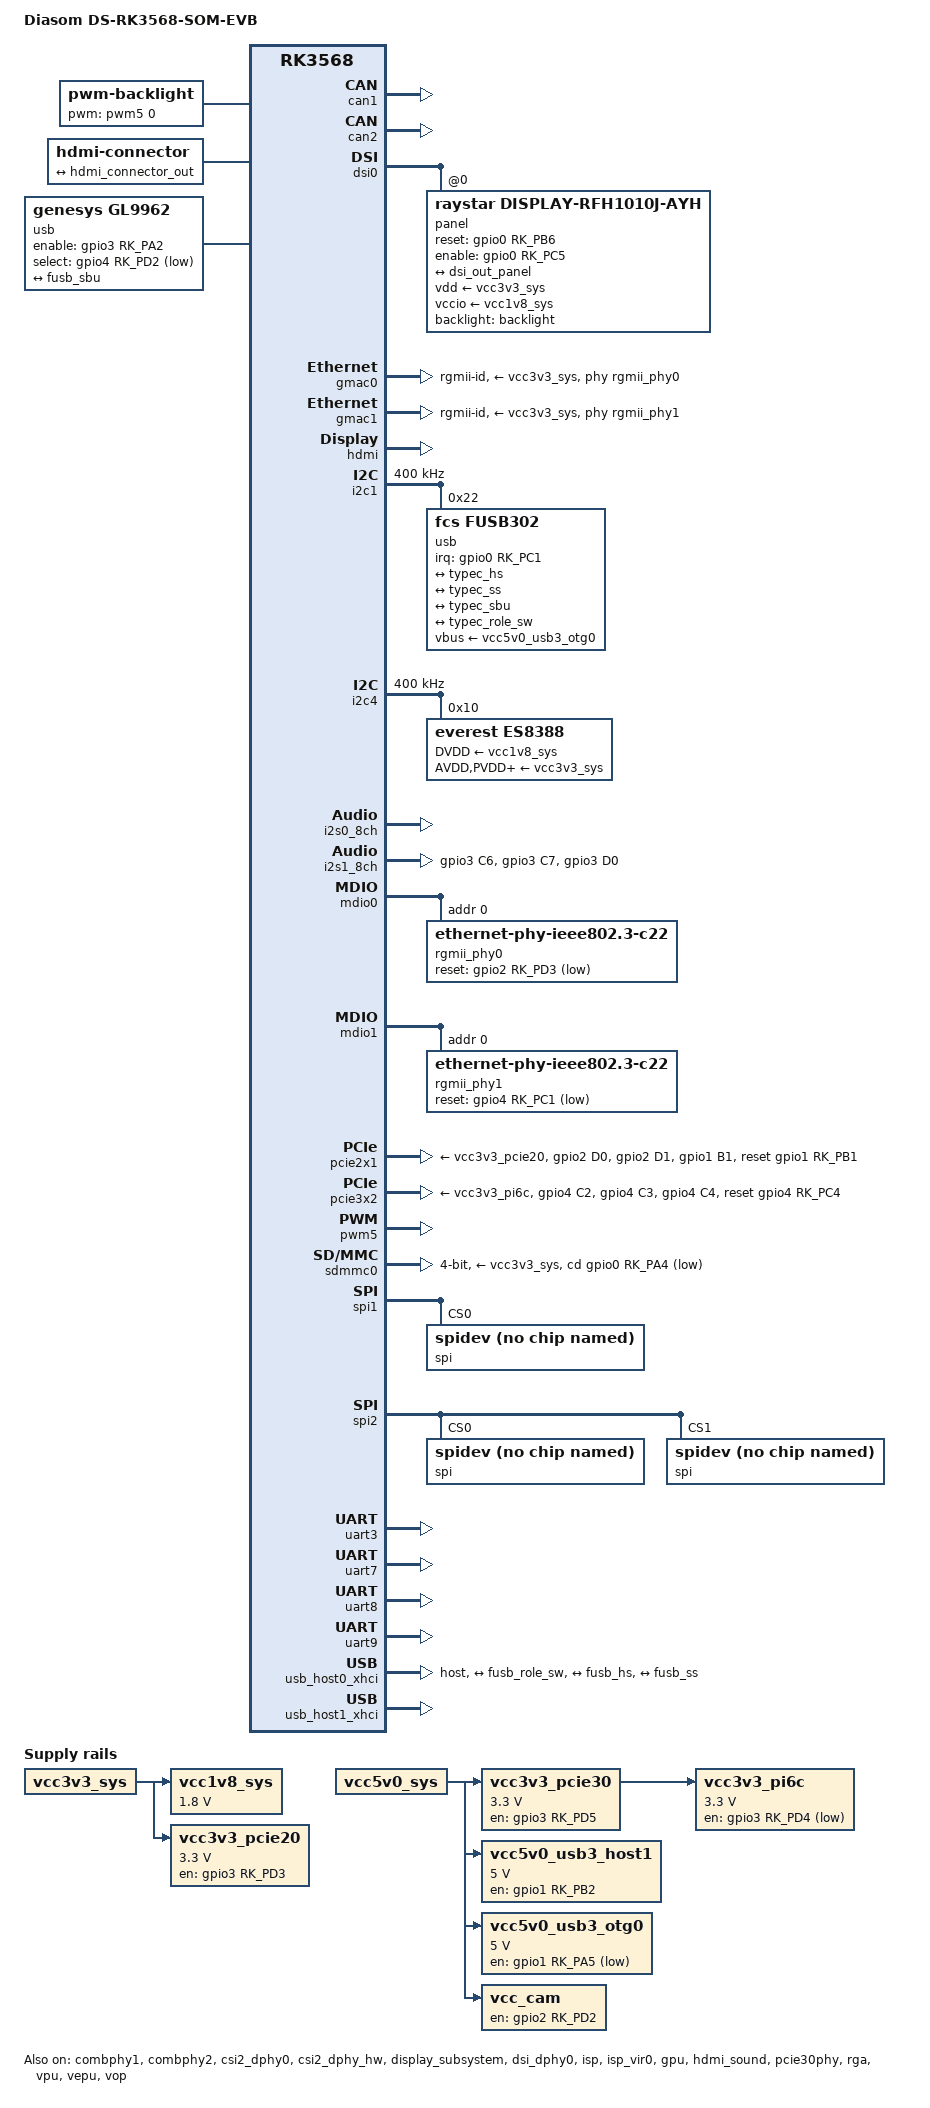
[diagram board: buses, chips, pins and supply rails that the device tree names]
/* SPDX-License-Identifier: GPL-2.0+ */
/* SPDX-FileCopyrightText: Alexander Shiyan <shc_work@mail.ru> */

/dts-v1/;

#include <dt-bindings/soc/rockchip,vop2.h>

#include "rk3568-diasom-som.dtsi"

#define USBOTG_HOST

/ {
	model = "Diasom DS-RK3568-SOM-EVB";
	compatible = "diasom,ds-rk3568-som-evb", "diasom,ds-rk3568-som", "rockchip,rk3568";

	aliases {
		camera0 = &xc7160;
		camera1 = &imx335;
		can0 = &can1;
		can1 = &can2;
		ethernet0 = &gmac0;
		ethernet1 = &gmac1;
		mmc0 = &sdmmc0;
		sound0 = &sound0;
	};

	chosen {
		environment-sd {
			compatible = "barebox,environment";
			device-path = &sdmmc0, "partname:env";
			status = "disabled";
		};
	};

	backlight: backlight {
		compatible = "pwm-backlight";
		pwms = <&pwm5 0 25000 0>;
		brightness-levels = <0 255>;
		num-interpolated-steps = <256>;
		default-brightness-level = <255>;
	};

	hdmi-connector {
		compatible = "hdmi-connector";
		label = "HDMI";
		type = "a";

		port {
			hdmi_connector_in: endpoint {
				remote-endpoint = <&hdmi_connector_out>;
			};
		};
	};

	lvds: lvds {
		compatible = "rockchip,rk3568-lvds";
		phys = <&dsi_dphy0>;
		phy-names = "dphy";
		power-domains = <&power RK3568_PD_VO>;
		rockchip,grf = <&grf>;
		rockchip,output = "lvds";
		status = "disabled";

		ports {
			#address-cells = <1>;
			#size-cells = <0>;

			port@0 {
				reg = <0>;

				lvds_in_vp2: endpoint {
					remote-endpoint = <&vp2_out_lvds>;
				};
			};

			port@1 {
				reg = <1>;

				lvds_out_panel: endpoint {
					remote-endpoint = <&lvds_in_panel>;
				};
			};
		};
	};

	lvds_panel: panel {
		pinctrl-names = "default";
		pinctrl-0 = <&lvds_pins>;
		compatible = "panel-lvds";
		backlight = <&backlight>;
		data-mapping = "jeida-24";
		enable-gpios = <&gpio0 RK_PC5 GPIO_ACTIVE_HIGH>;
		width-mm = <210>;
		height-mm = <158>;
		status = "disabled";

		panel-timing {
			/* Raystar RFM1040G-AWW-LNN 1024x768@60 */
			clock-frequency = <65000000>;
			hactive = <1024>;
			vactive = <768>;
			hsync-len = <4>;
			hfront-porch = <100>;
			hback-porch = <216>;
			vfront-porch = <30>;
			vback-porch = <7>;
			vsync-len = <1>;
			hsync-active = <0>;
			vsync-active = <0>;
			de-active = <0>;
			pixelclk-active = <0>;
		};

		port {
			lvds_in_panel: endpoint {
				remote-endpoint = <&lvds_out_panel>;
			};
		};
	};

	sound0: es8388-sound {
		compatible = "simple-audio-card";
		simple-audio-card,name = "ES8388";
		simple-audio-card,format = "i2s";
		simple-audio-card,bitclock-master = <&es8388_master>;
		simple-audio-card,frame-master = <&es8388_master>;

		es8388_master: simple-audio-card,cpu {
			sound-dai = <&i2s1_8ch>;
		};

		simple-audio-card,codec {
			sound-dai = <&es8388>;
		};
	};

	usb {
		pinctrl-names = "default";
		pinctrl-0 = <&usbmux_pins>;
		compatible = "genesys,gl9962", "gpio-sbu-mux";
		enable-gpios = <&gpio3 RK_PA2 GPIO_ACTIVE_HIGH>;
		select-gpios = <&gpio4 RK_PD2 GPIO_ACTIVE_LOW>;
		orientation-switch;

		port {
			typec_sbu: endpoint {
				remote-endpoint = <&fusb_sbu>;
			};
		};
	};

	vcc1v8_sys: vcc1v8-sys-regulator {
		compatible = "regulator-fixed";
		regulator-name = "1v8_sys";
		regulator-min-microvolt = <1800000>;
		regulator-max-microvolt = <1800000>;
		vin-supply = <&vcc3v3_sys>;
	};

	vcc3v3_pcie20: vcc3v3-pcie20-pwr-regulator {
		pinctrl-0 = <&pcie20_pwr_pins>;
		pinctrl-names = "default";
		compatible = "regulator-fixed";
		enable-active-high;
		gpio = <&gpio3 RK_PD3 GPIO_ACTIVE_HIGH>;
		regulator-name = "3v3_pcie20";
		regulator-min-microvolt = <3300000>;
		regulator-max-microvolt = <3300000>;
		startup-delay-us = <20000>;
		vin-supply = <&vcc3v3_sys>;
	};

	vcc3v3_pcie30: vcc3v3-pcie30-regulator {
		pinctrl-0 = <&pcie30_pwr_pins>;
		pinctrl-names = "default";
		compatible = "regulator-fixed";
		enable-active-high;
		gpio = <&gpio3 RK_PD5 GPIO_ACTIVE_HIGH>;
		regulator-name = "3v3_pcie30";
		regulator-min-microvolt = <3300000>;
		regulator-max-microvolt = <3300000>;
		startup-delay-us = <20000>;
		vin-supply = <&vcc5v0_sys>;
	};

	vcc3v3_pi6c: vcc3v3-pi6c-regulator {
		pinctrl-0 = <&pcie30_oe_pins>;
		pinctrl-names = "default";
		compatible = "regulator-fixed";
		gpio = <&gpio3 RK_PD4 GPIO_ACTIVE_LOW>;
		regulator-name = "3v3_pi6c";
		regulator-min-microvolt = <3300000>;
		regulator-max-microvolt = <3300000>;
		startup-delay-us = <1000>;
		vin-supply = <&vcc3v3_pcie30>;
	};

	vcc5v0_usb3_host1: vcc5v0-usb3-host1-regulator {
		pinctrl-names = "default";
		pinctrl-0 = <&usb3_host1_en_pins>;
		compatible = "regulator-fixed";
		enable-active-high;
		gpio = <&gpio1 RK_PB2 GPIO_ACTIVE_HIGH>;
		regulator-name = "vcc5v0_usb3_host1";
		regulator-min-microvolt = <5000000>;
		regulator-max-microvolt = <5000000>;
		startup-delay-us = <20000>;
		vin-supply = <&vcc5v0_sys>;
	};

	vcc5v0_usb3_otg0: vcc5v0-usb3-otg0-regulator {
		pinctrl-names = "default";
		pinctrl-0 = <&usb3_otg0_en_pins>;
		compatible = "regulator-fixed";
		gpio = <&gpio1 RK_PA5 GPIO_ACTIVE_LOW>;
		regulator-name = "vcc5v0_usb3_otg0";
		regulator-min-microvolt = <5000000>;
		regulator-max-microvolt = <5000000>;
		startup-delay-us = <20000>;
		vin-supply = <&vcc5v0_sys>;
	};

	vcc_cam: vcc-cam-regulator {
		pinctrl-names = "default";
		pinctrl-0 = <&csi0_pwr>;
		compatible = "regulator-fixed";
		enable-active-high;
		gpio = <&gpio2 RK_PD2 GPIO_ACTIVE_HIGH>;
		regulator-name = "vcc_cam";
		startup-delay-us = <250000>;
		vin-supply = <&vcc5v0_sys>;
	};
};

&can1 {
	pinctrl-names = "default";
	pinctrl-0 = <&can1m0_pins>;
	status = "okay";
};

&can2 {
	pinctrl-names = "default";
	pinctrl-0 = <&can2m0_pins>;
	status = "okay";
};

&combphy1 {
	/* USB3.0 HOST1 */
	status = "okay";
};

&combphy2 {
	/* PCI-E 2.0 */
	phy-supply = <&vcc3v3_pcie20>;
	status = "okay";
};

&csi2_dphy0 {
	status = "okay";

	ports {
		#address-cells = <1>;
		#size-cells = <0>;

		port@0 {
			reg = <0>;
			#address-cells = <1>;
			#size-cells = <0>;

			xc7160_in: endpoint@0 {
				reg = <0>;
				remote-endpoint = <&xc7160_out>;
				data-lanes = <1 2 3 4>;
			};

			imx335_in: endpoint@1 {
				reg = <1>;
				remote-endpoint = <&imx335_out>;
				data-lanes = <1 2 3 4>;
			};
		};

		port@1 {
			reg = <1>;

			csi_out: endpoint {
				remote-endpoint = <&isp_in>;
				data-lanes = <1 2 3 4>;
			};
		};
	};
};

&csi2_dphy_hw {
	status = "okay";
};

&display_subsystem {
	status = "okay";
};

&dsi0 {
	#address-cells = <1>;
	#size-cells = <0>;
	status = "okay";

	panel@0 {
		pinctrl-names = "default";
		pinctrl-0 = <&dsi_pins>;
		compatible = "raystar,display-rfh1010j-ayh";
		reg = <0>;
		backlight = <&backlight>;
		reset-gpios = <&gpio0 RK_PB6 GPIO_ACTIVE_HIGH>;
		enable-gpios = <&gpio0 RK_PC5 GPIO_ACTIVE_HIGH>;
		vdd-supply = <&vcc3v3_sys>;
		vccio-supply = <&vcc1v8_sys>;

		port {
			dsi_in_panel: endpoint {
				remote-endpoint = <&dsi_out_panel>;
			};
		};
	};
};

&dsi_dphy0 {
	status = "okay";
};

&dsi0_in {
	dsi0_in_vp1: endpoint {
		remote-endpoint = <&vp1_out_dsi0>;
	};
};

&dsi0_out {
	dsi_out_panel: endpoint {
		remote-endpoint = <&dsi_in_panel>;
	};
};

&isp {
	status = "okay";
};

&isp_mmu {
	status = "okay";
};

&isp_vir0 {
	status = "okay";

	port {
		#address-cells = <1>;
		#size-cells = <0>;

		isp_in: endpoint@0 {
			reg = <0>;
			remote-endpoint = <&csi_out>;
		};
	};
};

&gmac0 {
	assigned-clocks = <&cru SCLK_GMAC0_RX_TX>, <&cru SCLK_GMAC0>;
	assigned-clock-parents = <&cru SCLK_GMAC0_RGMII_SPEED>;
	assigned-clock-rates = <0>, <125000000>;
	pinctrl-names = "default";
	pinctrl-0 = <&gmac0_miim &gmac0_tx_bus2 &gmac0_rx_bus2 &gmac0_rgmii_clk &gmac0_rgmii_bus>;
	clock_in_out = "output";
	phy-handle = <&rgmii_phy0>;
	phy-mode = "rgmii-id";
	phy-supply = <&vcc3v3_sys>;
	status = "okay";
};

&gmac1 {
	assigned-clocks = <&cru SCLK_GMAC1_RX_TX>, <&cru SCLK_GMAC1>;
	assigned-clock-parents = <&cru SCLK_GMAC1_RGMII_SPEED>;
	assigned-clock-rates = <0>, <125000000>;
	pinctrl-names = "default";
	pinctrl-0 = <&gmac1m1_miim &gmac1m1_tx_bus2 &gmac1m1_rx_bus2 &gmac1m1_rgmii_clk &gmac1m1_rgmii_bus>;
	clock_in_out = "output";
	phy-handle = <&rgmii_phy1>;
	phy-mode = "rgmii-id";
	phy-supply = <&vcc3v3_sys>;
	status = "okay";
};

&gpu {
	status = "okay";
};

&hdmi {
	status = "okay";
};

&hdmi_in {
	hdmi_in_vp0: endpoint {
		remote-endpoint = <&vp0_out_hdmi>;
	};
};

&hdmi_out {
	hdmi_connector_out: endpoint {
		remote-endpoint = <&hdmi_connector_in>;
	};
};

&hdmi_sound {
	status = "okay";
};

&i2c1 {
	/* FUSB302 is not detected at 1MHz, so lets reduce frequency to 400KHz */
	clock-frequency = <400000>;
	status = "okay";

	usb@22 {
		pinctrl-names = "default";
		pinctrl-0 = <&fusb302_pins>;
		compatible = "fcs,fusb302";
		reg = <0x22>;
		interrupt-parent = <&gpio0>;
		interrupts = <RK_PC1 IRQ_TYPE_LEVEL_LOW>;
		vbus-supply = <&vcc5v0_usb3_otg0>;

		connector {
			compatible = "usb-c-connector";
#ifdef USBOTG_HOST
			data-role = "host";
#else
			data-role = "dual";
#endif
			label = "USB-C";
			pd-disable;
			power-role = "source";
			typec-power-opmode = "default";

			ports {
				#address-cells = <1>;
				#size-cells = <0>;

				port@0 {
					/* HS */
					reg = <0>;

					fusb_hs: endpoint {
						remote-endpoint = <&typec_hs>;
					};
				};

				port@1 {
					/* SS */
					reg = <1>;

					fusb_ss: endpoint {
						remote-endpoint = <&typec_ss>;
					};
				};

				port@2 {
					/* Orientation Switch */
					reg = <2>;

					fusb_sbu: endpoint {
						remote-endpoint = <&typec_sbu>;
					};
				};
			};
		};

		port {
			/* Role Switch */

			fusb_role_sw: endpoint {
				remote-endpoint = <&typec_role_sw>;
			};
		};
	};
};

&i2c4 {
	clock-frequency = <400000>;
	status = "okay";

	es8388: codec@10 {
		compatible = "everest,es8388";
		assigned-clocks = <&cru I2S1_MCLKOUT_TX>;
		assigned-clock-rates = <12288000>;
		assigned-clock-parents = <&cru CLK_I2S1_8CH_TX>;
		reg = <0x10>;
		clocks = <&cru I2S1_MCLKOUT_TX>;
		DVDD-supply = <&vcc1v8_sys>;
		AVDD-supply = <&vcc3v3_sys>;
		PVDD-supply = <&vcc3v3_sys>;
		HPVDD-supply = <&vcc3v3_sys>;

		#sound-dai-cells = <0>;
	};

	imx335: camera@1a {
		compatible = "sony,imx335";
		reg = <0x1a>;
		clocks = <&xin24m>;
		power-domains = <&power RK3568_PD_VI>;
		avdd-supply = <&vcc_cam>;
		dvdd-supply = <&vcc_cam>;
		ovdd-supply = <&vcc_cam>;
		status = "disabled";

		port {
			imx335_out: endpoint {
				data-lanes = <1 2 3 4>;
				remote-endpoint = <&imx335_in>;
				link-frequencies = /bits/ 64 <594000000>;
			};
		};
	};

	xc7160: camera@1b {
		pinctrl-names = "default";
		pinctrl-0 = <&cif_clk &csi0_rst>;
		compatible = "firefly,xc7160";
		reg = <0x1b>;
		clocks = <&cru CLK_CIF_OUT>;
		clock-names = "xvclk";
		power-domains = <&power RK3568_PD_VI>;
		reset-gpios = <&gpio3 RK_PB6 GPIO_ACTIVE_HIGH>;
		avdd-supply = <&vcc5v0_sys>;
		dovdd-supply = <&vcc5v0_sys>;
		dvdd-supply = <&vcc5v0_sys>;
		status = "disabled";

		port {
			xc7160_out: endpoint {
				data-lanes = <1 2 3 4>;
				remote-endpoint = <&xc7160_in>;
			};
		};
	};
};

&i2s0_8ch {
	/* HDMI Sound */
	status = "okay";
};

&i2s1_8ch {
	/* I2S Sound */
	pinctrl-0 = <
		&i2s1_pins
		&i2s1m1_sdo0		/* I2S1_SDO0 */
		&i2s1m1_sdi0		/* I2S1_SDI0 */
	>;
	rockchip,trcm-sync-tx-only;
	status = "okay";
};

&mdio0 {
	rgmii_phy0: phy@0 {
		pinctrl-names = "default";
		pinctrl-0 = <&gmac0_rst_pins>;
		compatible = "ethernet-phy-ieee802.3-c22";
		reg = <0x0>;
		reset-assert-us = <20000>;
		reset-deassert-us = <100000>;
		reset-gpios = <&gpio2 RK_PD3 GPIO_ACTIVE_LOW>;
	};
};

&mdio1 {
	rgmii_phy1: phy@0 {
		pinctrl-names = "default";
		pinctrl-0 = <&gmac1_rst_pins>;
		compatible = "ethernet-phy-ieee802.3-c22";
		reg = <0x0>;
		reset-assert-us = <20000>;
		reset-deassert-us = <100000>;
		reset-gpios = <&gpio4 RK_PC1 GPIO_ACTIVE_LOW>;
	};
};

&pcie2x1 {
	pinctrl-names = "default";
	pinctrl-0 = <&pcie20_pins>;
	reset-gpios = <&gpio1 RK_PB1 GPIO_ACTIVE_HIGH>;
	vpcie3v3-supply = <&vcc3v3_pcie20>;
	status = "okay";
};

&pcie3x2 {
	pinctrl-names = "default";
	pinctrl-0 = <&pcie30_pins>;
	reset-gpios = <&gpio4 RK_PC4 GPIO_ACTIVE_HIGH>;
	vpcie3v3-supply = <&vcc3v3_pi6c>;
	status = "okay";
};

&pcie30phy {
	phy-supply = <&vcc3v3_pcie30>;
	status = "okay";
};

&pwm5 {
	status = "okay";
};

&rga {
	status = "okay";
};

&sdmmc0 {
	pinctrl-names = "default";
	pinctrl-0 = <&sdmmc0_bus4 &sdmmc0_clk &sdmmc0_cmd &sdmmc0_det>;
	bus-width = <4>;
	cap-mmc-highspeed;
	cap-sd-highspeed;
	cd-gpios = <&gpio0 RK_PA4 GPIO_ACTIVE_LOW>;
	disable-wp;
	sd-uhs-sdr104;
	vmmc-supply = <&vcc3v3_sys>;
	vqmmc-supply = <&vccio_sd>;
	status = "okay";
};

&spi1 {
	pinctrl-0 = <&spi1m1_pins_hs &spi1m1_cs0_hs>;
	num-cs = <1>;
	status = "okay";

	spi@0 {
		compatible = "rohm,dh2228fv";
		reg = <0>;
	};
};

&spi2 {
	pinctrl-0 = <&spi2m1_pins_hs &spi2m1_cs0_hs &spi2m1_cs1_hs>;
	num-cs = <2>;
	status = "okay";

	spi@0 {
		compatible = "rohm,dh2228fv";
		reg = <0>;
	};

	spi@1 {
		compatible = "rohm,dh2228fv";
		reg = <1>;
	};
};

&vpu {
	status = "okay";
};

&vdpu_mmu {
	status = "okay";
};

&vepu {
	status = "okay";
};

&vepu_mmu {
	status = "okay";
};

&vop {
	assigned-clocks = <&cru DCLK_VOP0>, <&cru DCLK_VOP1>;
	assigned-clock-parents = <&pmucru PLL_HPLL>, <&cru PLL_VPLL>;
	status = "okay";
};

&vop_mmu {
	status = "okay";
};

&vp0 {
	vp0_out_hdmi: endpoint@ROCKCHIP_VOP2_EP_HDMI0 {
		reg = <ROCKCHIP_VOP2_EP_HDMI0>;
		remote-endpoint = <&hdmi_in_vp0>;
	};
};

&vp1 {
	vp1_out_dsi0: endpoint@ROCKCHIP_VOP2_EP_MIPI0 {
		reg = <ROCKCHIP_VOP2_EP_MIPI0>;
		remote-endpoint = <&dsi0_in_vp1>;
	};
};

&vp2 {
	status = "disbled";

	vp2_out_lvds: endpoint@ROCKCHIP_VOP2_EP_LVDS0 {
		reg = <ROCKCHIP_VOP2_EP_LVDS0>;
		remote-endpoint = <&lvds_in_vp2>;
	};
};

&uart3 {
	pinctrl-0 = <&uart3m1_xfer &uart3m0_ctsn &uart3m0_rtsn>;
	status = "okay";
};

&uart7 {
	pinctrl-0 = <&uart7m1_xfer &uart7m0_ctsn &uart7m0_rtsn>;
	status = "okay";
};

&uart8 {
	pinctrl-0 = <&uart8m0_xfer &uart8m0_ctsn &uart8m0_rtsn>;
	status = "okay";
};

&uart9 {
	pinctrl-0 = <&uart9m1_xfer>;
	status = "okay";
};

&usb_host0_xhci {
#ifdef USBOTG_HOST
	dr_mode = "host";
#else
	usb-role-switch;
#endif

	port {
		typec_role_sw: endpoint {
			/* Role Switch */

			remote-endpoint = <&fusb_role_sw>;
		};
	};

	ports {
		#address-cells = <1>;
		#size-cells = <0>;

		port@0 {
			/* HS */
			reg = <0>;

			typec_hs: endpoint {
				remote-endpoint = <&fusb_hs>;
			};
		};

		port@1 {
			/* SS */
			reg = <1>;

			typec_ss: endpoint {
				remote-endpoint = <&fusb_ss>;
			};
		};
	};
};

&usb_host1_xhci {
	status = "okay";
};

&usb2phy0_host {
	phy-supply = <&vcc5v0_usb3_host1>;
};

&vdda0v9_image {
	/* Temporary hack regulator-always-on and regulator-boot-on
	   properties until we have regulator handling for dsi & lvds nodes
	*/
	regulator-always-on;
	regulator-boot-on;
};

&vcca1v8_image {
	/* Temporary hack regulator-always-on and regulator-boot-on
	   properties until we have regulator handling for dsi & lvds nodes
	*/
	regulator-always-on;
	regulator-boot-on;
};

&pinctrl {
	pinctrl-0 = <&board_pins>;
	pinctrl-names = "default";

	board {
		board_pins: board-pins {
			rockchip,pins =
				<1 RK_PA4 RK_FUNC_GPIO &pcfg_pull_up>,		/* GPIO_1 */
				<1 RK_PA6 RK_FUNC_GPIO &pcfg_pull_up>,		/* GPIO_2 */
				<1 RK_PA7 RK_FUNC_GPIO &pcfg_pull_up>,		/* GPIO_3 */
				<1 RK_PB0 RK_FUNC_GPIO &pcfg_pull_up>;		/* GPIO_4 */
		};
	};

	csi {
		/* csi0 clkout = cif_clk */

		csi0_rst: csi0-rst-pins {
			rockchip,pins =
				<3 RK_PB6 RK_FUNC_GPIO &pcfg_pull_up>;		/* CSI_RESET0# */
		};

		csi0_pwr: csi0-pwr-pins {
			rockchip,pins =
				<2 RK_PD2 RK_FUNC_GPIO &pcfg_pull_up>;		/* CSI_PWREN0 */
		};

		/* csi1 clkout = refclk_pins */

		csi1_pins: csi1-pins {
			rockchip,pins =
				<0 RK_PD4 RK_FUNC_GPIO &pcfg_pull_up>,		/* CSI_PWREN1 */
				<1 RK_PB3 RK_FUNC_GPIO &pcfg_pull_up>;		/* CSI_RESET1# */
		};
	};

	dsi {
		dsi_pins: dsi-pins {
			rockchip,pins =
				<0 RK_PC5 RK_FUNC_GPIO &pcfg_pull_up>,		/* DSI_PWREN */
				<0 RK_PB6 RK_FUNC_GPIO &pcfg_pull_up>;		/* DSI_RESET# */
		};
	};

	fusb302 {
		fusb302_pins: fusb302-pins {
			rockchip,pins =
				<0 RK_PC1 RK_FUNC_GPIO &pcfg_pull_up>;		/* USB3_OTG_INT */
		};
	};

	i2s {
		i2s1_pins: i2s1-pins {
			rockchip,pins =
				<3 RK_PC6 4 &pcfg_pull_none_smt>,		/* I2S1_MCLK */
				<3 RK_PC7 4 &pcfg_pull_none_smt>,		/* I2S1_TX_SCLK */
				<3 RK_PD0 4 &pcfg_pull_none_smt>;		/* I2S1_TX_LRCK */
		};
	};

	lvds {
		lvds_pins: lvds-pins {
			rockchip,pins =
				<0 RK_PC5 RK_FUNC_GPIO &pcfg_pull_up>;		/* LVDS_PWREN */
		};
	};

	net {
		gmac0_rst_pins: gmac0-rst-pins {
			rockchip,pins =
				<2 RK_PD3 RK_FUNC_GPIO &pcfg_pull_none>;	/* GMAC0_RST */
		};

		gmac1_rst_pins: gmac1-rst-pins {
			rockchip,pins =
				<4 RK_PC1 RK_FUNC_GPIO &pcfg_pull_none>;	/* GMAC1_RST */
		};
	};

	pcie20 {
		pcie20_pins: pcie20-pins {
			rockchip,pins =
				<2 RK_PD0 4 &pcfg_pull_none>,			/* PCIE20_CLKREQn_M1 */
				<2 RK_PD1 4 &pcfg_pull_none>,			/* PCIE20_WAKEn_M1 */
				<1 RK_PB1 RK_FUNC_GPIO &pcfg_pull_none>;	/* PCIE20_PERST */
		};

		pcie20_pwr_pins: pcie20-pwr-pins {
			rockchip,pins =
				<3 RK_PD3 RK_FUNC_GPIO &pcfg_pull_none>;	/* PCIE20_PWREN */
		};
	};

	pcie30 {
		pcie30_pins: pcie30-pins {
			rockchip,pins =
				<4 RK_PC2 4 &pcfg_pull_none>,			/* PCIE30X2_CLKREQn_M2 */
				<4 RK_PC3 4 &pcfg_pull_none>,			/* PCIE30X2_WAKEn_M2 */
				<4 RK_PC4 RK_FUNC_GPIO &pcfg_pull_up>;		/* PCIE30X2_PERSTn_M2 */
		};

		pcie30_oe_pins: pcie30-oe-pins {
			rockchip,pins =
				<3 RK_PD4 RK_FUNC_GPIO &pcfg_pull_up>;		/* PCIECLKIC_OE */
		};

		pcie30_pwr_pins: pcie30-pwr-pins {
			rockchip,pins =
				<3 RK_PD5 RK_FUNC_GPIO &pcfg_pull_up>;		/* PCIE30_PWREN */
		};
	};

	usb {
		usb3_host1_en_pins: usb3-host1-en-pins {
			rockchip,pins =
				<1 RK_PB2 RK_FUNC_GPIO &pcfg_pull_none>;	/* USB3_HOST1_EN */
		};

		usb3_otg0_en_pins: usb3-otg0-en-pins {
			rockchip,pins =
				<1 RK_PA5 RK_FUNC_GPIO &pcfg_pull_none>;	/* USB3_OTG0_EN */
		};
	};

	usbmux {
		usbmux_pins: usbmux-pins {
			rockchip,pins =
				<4 RK_PD2 RK_FUNC_GPIO &pcfg_pull_up>,		/* USB3_OTG0_SEL */
				<3 RK_PA2 RK_FUNC_GPIO &pcfg_pull_none>;	/* Unused */
		};
	};
};
